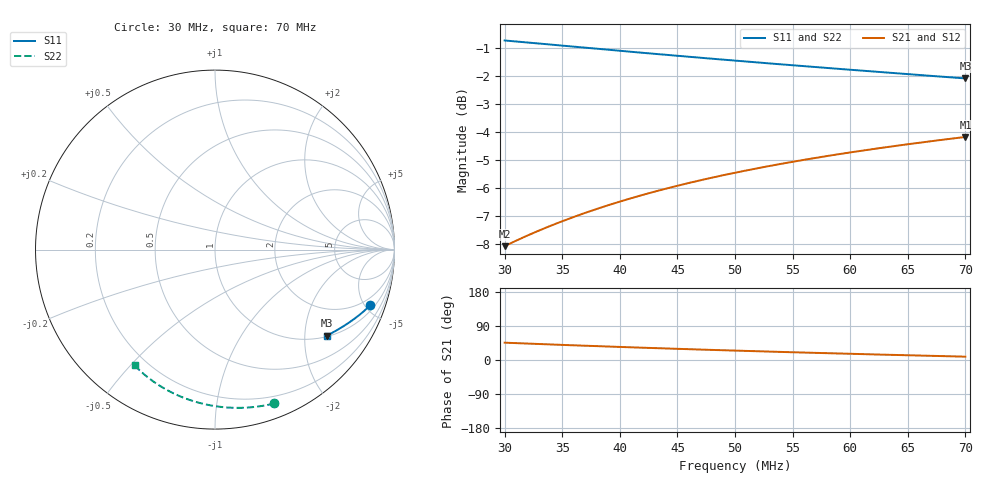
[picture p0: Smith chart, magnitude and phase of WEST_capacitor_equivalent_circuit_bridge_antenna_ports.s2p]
! Touchstone file exported from Circuit Design 2022.2.0
!  File:  C:/Users/JH218595/Documents/Modeling/WEST ICRH/WEST_ICRH_Capacitor.aedt
!  Generated:  9:24:16  mars 25, 2024
!  Design:  WEST_capacitor_equivalent_circuit_bridge_antenna_ports
!  Project:  WEST_ICRH_Capacitor
!  Setup:  LinearFrequency
!  Solution:  LinearFrequency
! Variables:
!  C = 50pF
!  C1 = 25.7pF
!  L = 2.99e-08H
!  L1 = 2.4e-09H
!  R0 = 0.01ohm
!  R1 = 0.01ohm
!  Z_bridge = 13.605332097045ohm
!  Z_strap = 46.6367556961698ohm
!Data is not renormalized
# GHz S MA R 13.605332
! Terminal data exported
! Port[1] = Port1
! Port[2] = Port2
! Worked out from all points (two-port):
!   4001 points, 30 MHz to 70 MHz, reference per port
!   highest |S21| = -4.18 dB at 70 MHz (marker M1); lowest = -8.1 dB at 30 MHz (marker M2)
!   |S21| within 3 dB of the highest: 35.08 MHz to end of sweep
!   lowest |S11| = -2.1 dB at 70 MHz (marker M3), VSWR 8.35
!   |S11| at or under -10 dB: nowhere
!   |S22| runs from -2.1 to -0.7 dB; largest |S21 - S12| = 1.5e-15
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0.03  0.919 -19.7  0.3942 45.7  0.3942 45.7  0.9188 -68.9
! Gamma 0 0 0 0
! Port Impedance 13.605332097045 0 46.6367556961698 0
0.03019  0.9182 -19.8  0.3959 45.5  0.3959 45.5  0.918 -69.3
0.03173  0.9122 -20.6  0.4096 43.6  0.4096 43.6  0.912 -72.1
0.03329  0.9061 -21.4  0.4229 41.8  0.4229 41.8  0.9059 -75.0
0.03495  0.8997 -22.2  0.4363 39.9  0.4363 39.9  0.8995 -77.9
0.03667  0.8931 -23.1  0.4496 38.0  0.4496 38.0  0.8929 -80.9
0.03825  0.8872 -23.8  0.4612 36.3  0.4612 36.3  0.8869 -83.6
0.03989  0.8811 -24.6  0.4727 34.6  0.4727 34.6  0.8808 -86.2
0.04158  0.8749 -25.4  0.4841 32.8  0.4841 32.8  0.8746 -88.9
0.04334  0.8686 -26.2  0.4953 31.1  0.4953 31.1  0.8683 -91.6
0.04499  0.8628 -26.9  0.5053 29.4  0.5053 29.4  0.8625 -94.1
0.04665  0.857 -27.7  0.515 27.9  0.515 27.9  0.8567 -96.5
0.04832  0.8514 -28.4  0.5243 26.3  0.5243 26.3  0.8511 -98.9
0.05  0.8458 -29.1  0.5332 24.8  0.5332 24.8  0.8455 -101.2
0.05164  0.8405 -29.9  0.5416 23.3  0.5416 23.3  0.8401 -103.4
0.0533  0.8351 -30.6  0.5497 21.9  0.5497 21.9  0.8348 -105.6
0.05667  0.8246 -32.0  0.5654 19.0  0.5654 19.0  0.8243 -109.9
0.05996  0.8147 -33.4  0.5795 16.4  0.5795 16.4  0.8143 -113.8
0.06334  0.8048 -34.8  0.5932 13.7  0.5932 13.7  0.8044 -117.7
0.06682  0.7949 -36.3  0.6064 11.1  0.6064 11.1  0.7945 -121.4
0.06882  0.7893 -37.1  0.6136 9.7  0.6136 9.7  0.7889 -123.5
0.07  0.7861 -37.6  0.6178 8.8  0.6178 8.8  0.7857 -124.7
